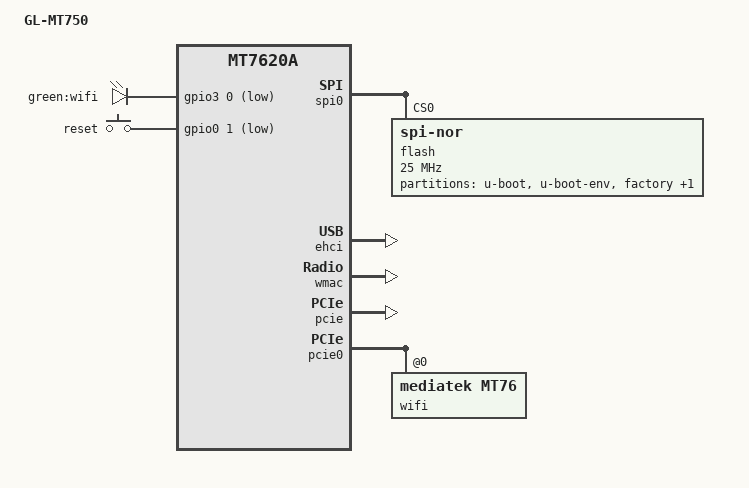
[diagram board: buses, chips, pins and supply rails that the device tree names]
#include "mt7620a.dtsi"

#include <dt-bindings/gpio/gpio.h>
#include <dt-bindings/input/input.h>

/ {
	compatible = "glinet,gl-mt750", "ralink,mt7620a-soc";
	model = "GL-MT750";

	chosen {
		bootargs = "console=ttyS0,115200";
	};

	pinctrl {
		state_default: pinctrl0 {
			gpio {
				ralink,group = "wled", "jtag", "i2c";
				ralink,function = "gpio";
			};
		};
	};
	
	leds {
		compatible = "gpio-leds";

		air {
			label = "green:wifi";
			gpios = <&gpio3 0 GPIO_ACTIVE_LOW>;
			default-state = "on";
			linux,default-trigger = "phy0tx";
		};
	};

	keys {
		compatible = "gpio-keys";

		reset {
			label = "reset";
			gpios = <&gpio0 1 GPIO_ACTIVE_LOW>;
			linux,code = <KEY_RESTART>;
			debounce-interval = <60>;
		};
	};
};

&gpio0 {
	status = "okay";
};

&gpio1 {
	status = "okay";
};

&gpio2 {
	status = "okay";
};

&gpio3 {
	status = "okay";
};

&spi0 {
	status = "okay";

	flash@0 {
		compatible = "jedec,spi-nor";
		reg = <0>;
		spi-max-frequency = <25000000>;
		m25p,fast-read;

		partitions {
			compatible = "fixed-partitions";
			#address-cells = <1>;
			#size-cells = <1>;

			partition@0 {
				label = "u-boot";
				reg = <0x0 0x30000>;
			};

			partition@30000 {
				label = "u-boot-env";
				reg = <0x30000 0x10000>;
				read-only;
			};

			partition@40000 {
				label = "factory";
				reg = <0x40000 0x10000>;
				read-only;

				nvmem-layout {
					compatible = "fixed-layout";
					#address-cells = <1>;
					#size-cells = <1>;

					eeprom_factory_0: eeprom@0 {
						reg = <0x0 0x200>;
					};

					eeprom_factory_8000: eeprom@8000 {
						reg = <0x8000 0x200>;
					};

					macaddr_factory_4: macaddr@4 {
						reg = <0x4 0x6>;
					};
				};
			};

			firmware: partition@50000 {
				compatible = "denx,uimage";
				label = "firmware";
				reg = <0x50000 0x1fb0000>;
			};
		};
	};
};

&ehci {
	status = "okay";
};

&ethernet {
	nvmem-cells = <&macaddr_factory_4>;
	nvmem-cell-names = "mac-address";

	mediatek,portmap = "wllll";
};

&wmac {
	nvmem-cells = <&eeprom_factory_0>;
	nvmem-cell-names = "eeprom";
};

&pcie {
	status = "okay";
};

&pcie0 {
	wifi@0,0 {
		compatible = "mediatek,mt76";
		reg = <0x0000 0 0 0 0>;
		nvmem-cells = <&eeprom_factory_8000>;
		nvmem-cell-names = "eeprom";
	};
};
